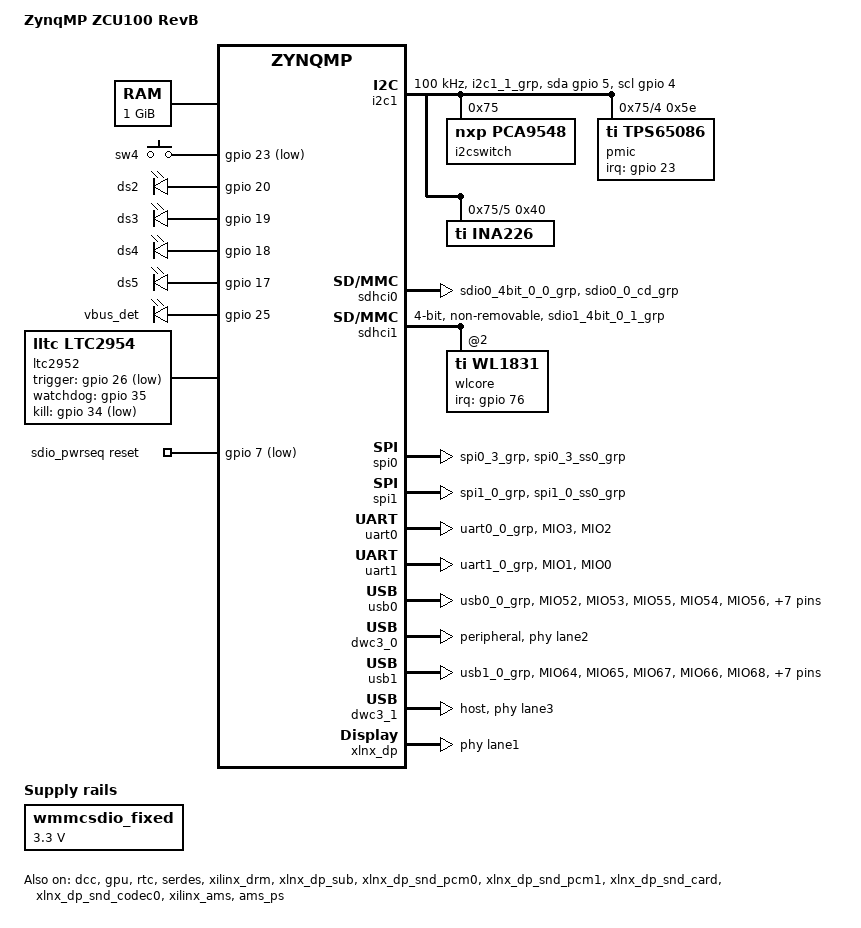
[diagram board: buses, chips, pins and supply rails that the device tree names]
/*
 * dts file for Xilinx ZynqMP ZCU100 revB
 *
 * (C) Copyright 2016, Xilinx, Inc.
 *
 * Michal Simek <michal.simek@xilinx.com>
 * Nathalie Chan King Choy <nathalie@xilinx.com>
 *
 * SPDX-License-Identifier:	GPL-2.0+
 */

/dts-v1/;

#include "zynqmp.dtsi"
#include "zynqmp-clk-ccf.dtsi"
#include <dt-bindings/interrupt-controller/irq.h>
#include <dt-bindings/gpio/gpio.h>
#include <dt-bindings/pinctrl/pinctrl-zynqmp.h>
#include <dt-bindings/phy/phy.h>

/ {
	model = "ZynqMP ZCU100 RevB";
	compatible = "xlnx,zynqmp-zcu100-revB", "xlnx,zynqmp-zcu100", "xlnx,zynqmp";

	aliases {
		gpio0 = &gpio;
		i2c0 = &i2c1;
		rtc0 = &rtc;
		serial0 = &uart1;
		serial1 = &uart0;
		serial2 = &dcc;
		spi0 = &spi0;
		spi1 = &spi1;
		usb0 = &usb0;
		usb1 = &usb1;
		mmc0 = &sdhci0;
		mmc1 = &sdhci1;
	};

	chosen {
		bootargs = "earlycon";
		stdout-path = "serial0:115200n8";
	};

	memory@0 {
		device_type = "memory";
		reg = <0x0 0x0 0x0 0x40000000>;
	};

	gpio-keys {
		compatible = "gpio-keys";
		#address-cells = <1>;
		#size-cells = <0>;
		autorepeat;
		sw4 {
			label = "sw4";
			gpios = <&gpio 23 GPIO_ACTIVE_LOW>; /* shared with pmic IRQ */
			linux,code = <108>; /* down */
			gpio-key,wakeup; /* FIXME test this */
			autorepeat;
		};
	};

	leds {
		compatible = "gpio-leds";
		ds2 {
			label = "ds2";
			gpios = <&gpio 20 GPIO_ACTIVE_HIGH>; /* uboot: gpio toggle 20 */
			linux,default-trigger = "heartbeat";
		};

		ds3 {
			label = "ds3";
			gpios = <&gpio 19 GPIO_ACTIVE_HIGH>;
			linux,default-trigger = "phy0tx"; /* WLAN tx */
			default-state = "off";
		};

		ds4 {
			label = "ds4";
			gpios = <&gpio 18 GPIO_ACTIVE_HIGH>;
			linux,default-trigger = "phy0rx"; /* WLAN rx */
			default-state = "off";
		};

		ds5 {
			label = "ds5";
			gpios = <&gpio 17 GPIO_ACTIVE_HIGH>;
		};

		/* FIXME this is not correct - used fixed-regulator for it */
		vbus_det { /* U5 USB5744  VBUS detection via MIO25 */
			label = "vbus_det";
			gpios = <&gpio 25 GPIO_ACTIVE_HIGH>;
			default-state = "on";
		};
	};

	ltc2952: ltc2952 { /* U7 */
		/*
		 * FIXME this is ltc2954 not ltc2952 - try this driver and
		 * maybe just extend compatible string.
		 */
		compatible = "lltc,ltc2954", "lltc,ltc2952";
		trigger-gpios = <&gpio 26 GPIO_ACTIVE_LOW>; /* INT line - input */
		/* If there is HW watchdog on mezzanine this signal should be connected there */
		watchdog-gpios = <&gpio 35 GPIO_ACTIVE_HIGH>; /* FIXME - unconnected MIO pin now */
		kill-gpios = <&gpio 34 GPIO_ACTIVE_LOW>; /* KILL signal - output */
	};

	wmmcsdio_fixed: fixedregulator-mmcsdio {
		compatible = "regulator-fixed";
		regulator-name = "wmmcsdio_fixed";
		regulator-min-microvolt = <3300000>;
		regulator-max-microvolt = <3300000>;
		regulator-always-on;
		regulator-boot-on;
	};

	sdio_pwrseq: sdio_pwrseq {
		compatible = "mmc-pwrseq-simple";
		reset-gpios = <&gpio 7 GPIO_ACTIVE_LOW>; /* WIFI_EN */
	};

	kim { /* Bluetooth driver for connection */
		compatible = "kim";
		status = "okay";
		/*
		 * FIXME: The following is complete CRAP since
		 * the vendor driver doesn't follow the gpio
		 * binding. Passing in a magic Linux gpio number
		 * here until we fix the vendor driver.
		 */
		/* FIXME BT_EN*/
		/* nshutdown_gpio = <&gpio 8 GPIO_ACTIVE_HIGH>; */
		nshutdown_gpio = <346>; /* 338 base + MIO8 */
		dev_name = "/dev/ttyPS1"; /* MIO2/3 */
		flow_cntrl = <1>;
		baud_rate = <3000000>;
	};
	/*
	 * CONFIG_BT_WILINK - depends on
	 * btwilink: add minimal device tree support
	 * commit b3ef820a9310743d62cf50341f529ca17319dd77
	 */
	btwilink { /* Bluetooth driver itself */
		status = "okay";
		compatible = "btwilink";
	};
};

&dcc {
	status = "okay";
};

&pmufw {
	pinctrl-names = "default";
	pinctrl-0 = <&pinctrl_pmu_default>;
};

&gpio {
	status = "okay";
};

&gpu {
	status = "okay";
};

&i2c1 {
	status = "okay";
	pinctrl-names = "default", "gpio";
	pinctrl-0 = <&pinctrl_i2c1_default>;
	pinctrl-1 = <&pinctrl_i2c1_gpio>;
	scl-gpios = <&gpio 4 GPIO_ACTIVE_HIGH>;
	sda-gpios = <&gpio 5 GPIO_ACTIVE_HIGH>;
	clock-frequency = <100000>;
	i2cswitch@75 { /* u11 */
		compatible = "nxp,pca9548";
		#address-cells = <1>;
		#size-cells = <0>;
		reg = <0x75>;
		i2csw_0: i2c@0 { /* i2c mw 75 0 1 */
			#address-cells = <1>;
			#size-cells = <0>;
			reg = <0>;
			/*
			 * LSEXP_I2C0
			 */
		};
		i2csw_1: i2c@1 { /* i2c mw 75 0 2 */
			#address-cells = <1>;
			#size-cells = <0>;
			reg = <1>;
			/*
			 * LSEXP_I2C1
			 */
		};
		i2csw_2: i2c@2 { /* i2c mw 75 0 4 */
			#address-cells = <1>;
			#size-cells = <0>;
			reg = <2>;
			/*
			 * HSEXP_I2C2
			 */
		};
		i2csw_3: i2c@3 { /* i2c mw 75 0 8 */
			#address-cells = <1>;
			#size-cells = <0>;
			reg = <3>;
			/*
			 * HSEXP_I2C3
			 */
		};
		i2csw_4: i2c@4 { /* i2c mw 75 0 10 */
			#address-cells = <1>;
			#size-cells = <0>;
			reg = <0x4>;

			/* Comment it out because will be pre-programmed
			   at the factory */

			pmic: tps65086x@5e { // Custom TI PMIC u33
				compatible = "ti,tps65086";
				reg = <0x5e>;
				interrupt-parent = <&gpio>;
				interrupts = <23 GPIO_ACTIVE_LOW>; /* shared with pmic IRQ */
				#gpio-cells = <2>;
				gpio-controller;

/*
				sys-supply = <&some_reg>;
				// spec 12V

				buck1 5V0
				buck2 PSINTLP (no idea)
				buck3 VCC_PSDDR 1V1
				buck4 3V3
				buck5 1V2
				buck6 VCC_PSAUX 1V8

				vin-sm0-supply = <&some_reg>;
				vin-sm1-supply = <&some_reg>;
				vin-sm2-supply = <&some_reg>;
				vinldo01-supply = <...>;
				vinldo23-supply = <...>;
				vinldo4-supply = <...>;
				vinldo678-supply = <...>;
				vinldo9-supply = <...>;

				regulators {
					sys_reg: sys {
					        regulator-name = "vdd_sys";
					        regulator-boot-on;
					        regulator-always-on;
					};

					sm0_reg: sm0 {
					        regulator-min-microvolt = < 725000>;
					        regulator-max-microvolt = <1500000>;
					        regulator-boot-on;
					        regulator-always-on;
					};

					sm1_reg: sm1 {
					        regulator-min-microvolt = < 725000>;
					        regulator-max-microvolt = <1500000>;
					        regulator-boot-on;
					        regulator-always-on;
					};

					sm2_reg: sm2 {
					        regulator-min-microvolt = <3000000>;
					        regulator-max-microvolt = <4550000>;
					        regulator-boot-on;
					        regulator-always-on;
					};

					ldo0_reg: ldo0 {
					        regulator-name = "PCIE CLK";
					        regulator-min-microvolt = <3300000>;
					        regulator-max-microvolt = <3300000>;
					};

					ldo1_reg: ldo1 {
					        regulator-min-microvolt = < 725000>;
					        regulator-max-microvolt = <1500000>;
					};

					ldo2_reg: ldo2 {
					        regulator-min-microvolt = < 725000>;
					        regulator-max-microvolt = <1500000>;
					};

					ldo3_reg: ldo3 {
					        regulator-min-microvolt = <1250000>;
					        regulator-max-microvolt = <3300000>;
					};

					ldo4_reg: ldo4 {
					        regulator-min-microvolt = <1700000>;
					        regulator-max-microvolt = <2475000>;
					};

					ldo5_reg: ldo5 {
					        regulator-min-microvolt = <1250000>;
					        regulator-max-microvolt = <3300000>;
					};

					ldo6_reg: ldo6 {
					        regulator-min-microvolt = <1250000>;
					        regulator-max-microvolt = <3300000>;
					};

					ldo7_reg: ldo7 {
					        regulator-min-microvolt = <1250000>;
					        regulator-max-microvolt = <3300000>;
					};

					ldo8_reg: ldo8 {
					        regulator-min-microvolt = <1250000>;
					        regulator-max-microvolt = <3300000>;
					};

					ldo9_reg: ldo9 {
					        regulator-min-microvolt = <1250000>;
					        regulator-max-microvolt = <3300000>;
					};

				// FIXME look at this one
					ldo_rtc {
						regulator-name = "vdd_rtc_out,vdd_cell";
						regulator-min-microvolt = <3300000>;
						regulator-max-microvolt = <3300000>;
						regulator-always-on;
					};
				};
				*/
			};
		};
		i2csw_5: i2c@5 { /* i2c mw 75 0 20 */
			#address-cells = <1>;
			#size-cells = <0>;
			reg = <5>;
			/* PS_PMBUS */
			ina226@40 { /* u35 */
				compatible = "ti,ina226";
				reg = <0x40>;
				shunt-resistor = <10000>;
				/* MIO31 is alert which should be routed to PMUFW */
			};
		};
		i2csw_6: i2c@6 { /* i2c mw 75 0 40 */
			#address-cells = <1>;
			#size-cells = <0>;
			reg = <6>;
			/*
			 * Not Connected
			 */
		};
		i2csw_7: i2c@7 { /* i2c mw 75 0 80 */
			#address-cells = <1>;
			#size-cells = <0>;
			reg = <7>;
			/*
			 * usb5744 (DNP) - U5
			 * 100kHz - this is default freq for us
			 */
		};
	};
};

&pinctrl0 {
	status = "okay";
	pinctrl_i2c1_default: i2c1-default {
		mux {
			groups = "i2c1_1_grp";
			function = "i2c1";
		};

		conf {
			groups = "i2c1_1_grp";
			bias-pull-up;
			slew-rate = <SLEW_RATE_SLOW>;
			io-standard = <IO_STANDARD_LVCMOS18>;
		};
	};

	pinctrl_i2c1_gpio: i2c1-gpio {
		mux {
			groups = "gpio0_4_grp", "gpio0_5_grp";
			function = "gpio0";
		};

		conf {
			groups = "gpio0_4_grp", "gpio0_5_grp";
			slew-rate = <SLEW_RATE_SLOW>;
			io-standard = <IO_STANDARD_LVCMOS18>;
		};
	};

	pinctrl_pmu_default: pmu-default {
		mux {
			groups = "pmu0_8_grp";
			function = "pmu0";
		};

		conf {
			groups = "pmu0_8_grp";
			bias-pull-up;
			slew-rate = <SLEW_RATE_SLOW>;
			io-standard = <IO_STANDARD_LVCMOS18>;
		};
	};

	pinctrl_sdhci0_default: sdhci0-default {
		mux {
			groups = "sdio0_4bit_0_0_grp";
			function = "sdio0";
		};

		conf {
			groups = "sdio0_4bit_0_0_grp";
			slew-rate = <SLEW_RATE_SLOW>;
			io-standard = <IO_STANDARD_LVCMOS18>;
			bias-disable;
		};

		mux-cd {
			groups = "sdio0_0_cd_grp";
			function = "sdio0_cd";
		};

		conf-cd {
			groups = "sdio0_0_cd_grp";
			bias-high-impedance;
			bias-pull-up;
			slew-rate = <SLEW_RATE_SLOW>;
			io-standard = <IO_STANDARD_LVCMOS18>;
		};
	};

	pinctrl_sdhci1_default: sdhci1-default {
		mux {
			groups = "sdio1_4bit_0_1_grp";
			function = "sdio1";
		};

		conf {
			groups = "sdio1_4bit_0_1_grp";
			slew-rate = <SLEW_RATE_SLOW>;
			io-standard = <IO_STANDARD_LVCMOS18>;
			bias-disable;
		};
	};

	pinctrl_spi0_default: spi0-default {
		mux {
			groups = "spi0_3_grp";
			function = "spi0";
		};

		conf {
			groups = "spi0_3_grp";
			bias-disable;
			slew-rate = <SLEW_RATE_SLOW>;
			io-standard = <IO_STANDARD_LVCMOS18>;
		};

		mux-cs {
			groups = "spi0_3_ss0_grp";
			function = "spi0_ss";
		};

		conf-cs {
			groups = "spi0_3_ss0_grp";
			bias-disable;
		};

	};

	pinctrl_spi1_default: spi1-default {
		mux {
			groups = "spi1_0_grp";
			function = "spi1";
		};

		conf {
			groups = "spi1_0_grp";
			bias-disable;
			slew-rate = <SLEW_RATE_SLOW>;
			io-standard = <IO_STANDARD_LVCMOS18>;
		};

		mux-cs {
			groups = "spi1_0_ss0_grp";
			function = "spi1_ss";
		};

		conf-cs {
			groups = "spi1_0_ss0_grp";
			bias-disable;
		};

	};

	pinctrl_uart0_default: uart0-default {
		mux {
			groups = "uart0_0_grp";
			function = "uart0";
		};

		conf {
			groups = "uart0_0_grp";
			slew-rate = <SLEW_RATE_SLOW>;
			io-standard = <IO_STANDARD_LVCMOS18>;
		};

		conf-rx {
			pins = "MIO3";
			bias-high-impedance;
		};

		conf-tx {
			pins = "MIO2";
			bias-disable;
		};
	};

	pinctrl_uart1_default: uart1-default {
		mux {
			groups = "uart1_0_grp";
			function = "uart1";
		};

		conf {
			groups = "uart1_0_grp";
			slew-rate = <SLEW_RATE_SLOW>;
			io-standard = <IO_STANDARD_LVCMOS18>;
		};

		conf-rx {
			pins = "MIO1";
			bias-high-impedance;
		};

		conf-tx {
			pins = "MIO0";
			bias-disable;
		};
	};

	pinctrl_usb0_default: usb0-default {
		mux {
			groups = "usb0_0_grp";
			function = "usb0";
		};

		conf {
			groups = "usb0_0_grp";
			slew-rate = <SLEW_RATE_SLOW>;
			io-standard = <IO_STANDARD_LVCMOS18>;
		};

		conf-rx {
			pins = "MIO52", "MIO53", "MIO55";
			bias-high-impedance;
		};

		conf-tx {
			pins = "MIO54", "MIO56", "MIO57", "MIO58", "MIO59",
			       "MIO60", "MIO61", "MIO62", "MIO63";
			bias-disable;
		};
	};

	pinctrl_usb1_default: usb1-default {
		mux {
			groups = "usb1_0_grp";
			function = "usb1";
		};

		conf {
			groups = "usb1_0_grp";
			slew-rate = <SLEW_RATE_SLOW>;
			io-standard = <IO_STANDARD_LVCMOS18>;
		};

		conf-rx {
			pins = "MIO64", "MIO65", "MIO67";
			bias-high-impedance;
		};

		conf-tx {
			pins = "MIO66", "MIO68", "MIO69", "MIO70", "MIO71",
			       "MIO72", "MIO73", "MIO74", "MIO75";
			bias-disable;
		};
	};
};

&rtc {
	status = "okay";
};

/* SD0 only supports 3.3V, no level shifter */
&sdhci0 {
	status = "okay";
	no-1-8-v;
	broken-cd; /* CD has to be enabled by default */
	disable-wp;
	pinctrl-names = "default";
	pinctrl-0 = <&pinctrl_sdhci0_default>;
	xlnx,mio_bank = <0>;
};

&sdhci1 {
	status = "okay";
	bus-width = <0x4>;
	pinctrl-names = "default";
	pinctrl-0 = <&pinctrl_sdhci1_default>;
	xlnx,mio_bank = <0>;
	non-removable;
	disable-wp;
	cap-power-off-card;
	mmc-pwrseq = <&sdio_pwrseq>;
	max-frequency = <16000000>;
	vqmmc-supply = <&wmmcsdio_fixed>;
	#address-cells = <1>;
	#size-cells = <0>;
	wlcore: wlcore@2 {
		compatible = "ti,wl1831";
		reg = <2>;
		interrupt-parent = <&gpio>;
		interrupts = <76 IRQ_TYPE_EDGE_RISING>; /* MIO76 WLAN_IRQ 1V8 */
	};
};

&serdes {
	status = "okay";
};

&spi0 { /* Low Speed connector */
	status = "okay";
	pinctrl-names = "default";
	pinctrl-0 = <&pinctrl_spi0_default>;
};

&spi1 { /* High Speed connector */
	status = "okay";
	pinctrl-names = "default";
	pinctrl-0 = <&pinctrl_spi1_default>;
};

&uart0 {
	status = "okay";
	pinctrl-names = "default";
	pinctrl-0 = <&pinctrl_uart0_default>;
};

&uart1 {
	status = "okay";
	pinctrl-names = "default";
	pinctrl-0 = <&pinctrl_uart1_default>;

};

/* ULPI SMSC USB3320 */
&usb0 {
	status = "okay";
	pinctrl-names = "default";
	pinctrl-0 = <&pinctrl_usb0_default>;
};

&dwc3_0 {
	status = "okay";
	dr_mode = "peripheral";
	phy-names = "usb3-phy";
	phys = <&lane2 PHY_TYPE_USB3 0 0 26000000>;
	maximum-speed = "super-speed";
};

/* ULPI SMSC USB3320 */
&usb1 {
	status = "okay";
	pinctrl-names = "default";
	pinctrl-0 = <&pinctrl_usb1_default>;
};

&dwc3_1 {
	status = "okay";
	dr_mode = "host";
	phy-names = "usb3-phy";
	phys = <&lane3 PHY_TYPE_USB3 1 0 26000000>;
	maximum-speed = "super-speed";
};

&xilinx_drm {
	status = "okay";
};

&xlnx_dp {
	status = "okay";
	phy-names = "dp-phy0", "dp-phy1";
	phys = <&lane1 PHY_TYPE_DP 0 1 27000000>,
	       <&lane0 PHY_TYPE_DP 1 1 27000000>;
};

&xlnx_dp_sub {
	status = "okay";
};

&xlnx_dp_snd_pcm0 {
	status = "okay";
};

&xlnx_dp_snd_pcm1 {
	status = "okay";
};

&xlnx_dp_snd_card {
	status = "okay";
};

&xlnx_dp_snd_codec0 {
	status = "okay";
};

&xlnx_dpdma {
	status = "okay";
};

&xilinx_ams {
	status = "okay";
};

&ams_ps {
	status = "okay";
};
